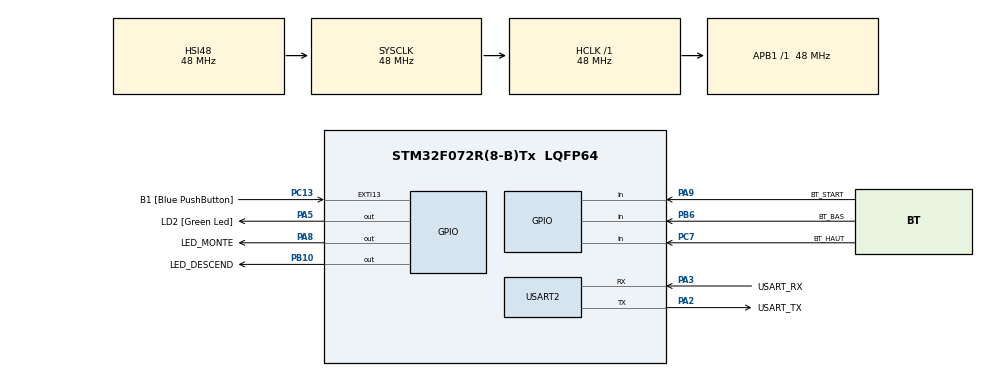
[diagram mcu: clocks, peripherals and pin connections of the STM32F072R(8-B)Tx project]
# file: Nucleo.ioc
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Mcu.Family=STM32F0
Mcu.Name=STM32F072R(8-B)Tx
Mcu.Package=LQFP64
PA13.GPIO_Label=TMS
PA13.Mode=Serial_Wire
PA13.Signal=SYS_SWDIO
PA14.GPIO_Label=TCK
PA14.Mode=Serial_Wire
PA14.Signal=SYS_SWCLK
PA2.GPIO_Label=USART_TX
PA2.GPIO_Mode=GPIO_MODE_AF_PP
PA2.GPIO_PuPd=GPIO_NOPULL
PA2.GPIO_Speed=GPIO_SPEED_FREQ_LOW
PA2.Mode=Asynchronous
PA2.Signal=USART2_TX
PA3.GPIO_Label=USART_RX
PA3.GPIO_Mode=GPIO_MODE_AF_PP
PA3.GPIO_PuPd=GPIO_NOPULL
PA3.GPIO_Speed=GPIO_SPEED_FREQ_LOW
PA3.Mode=Asynchronous
PA3.Signal=USART2_RX
PA5.GPIO_Label=LD2 [Green Led]
PA5.GPIO_Mode=GPIO_MODE_OUTPUT_PP
PA5.GPIO_PuPd=GPIO_NOPULL
PA5.GPIO_Speed=GPIO_SPEED_FREQ_LOW
PA5.Signal=GPIO_Output
PA8.GPIO_Label=LED_MONTE
PA8.Signal=GPIO_Output
PA9.GPIO_Label=BT_START
PA9.GPIO_PuPd=GPIO_PULLUP
PA9.Signal=GPIO_Input
PB10.GPIO_Label=LED_DESCEND
PB10.Signal=GPIO_Output
PB6.GPIO_Label=BT_BAS
PB6.GPIO_PuPd=GPIO_PULLUP
PB6.Signal=GPIO_Input
PC13.GPIO_Label=B1 [Blue PushButton]
PC13.GPIO_ModeDefaultEXTI=GPIO_MODE_IT_FALLING
PC13.Signal=GPXTI13
PC14-OSC32_IN.Mode=LSE-External-Oscillator
PC14-OSC32_IN.Signal=RCC_OSC32_IN
PC15-OSC32_OUT.Mode=LSE-External-Oscillator
PC15-OSC32_OUT.Signal=RCC_OSC32_OUT
PC7.GPIO_Label=BT_HAUT
PC7.GPIO_PuPd=GPIO_PULLUP
PC7.Signal=GPIO_Input
PF0-OSC_IN.Mode=HSE-External-Clock-Source
PF0-OSC_IN.Signal=RCC_OSC_IN
PF1-OSC_OUT.Signal=RCC_OSC_OUT
ProjectManager.HeapSize=0x200
ProjectManager.StackSize=0x400
ProjectManager.TargetToolchain=Other Toolchains (GPDSC)
RCC.AHBFreq_Value=48000000
RCC.APB1Freq_Value=48000000
RCC.APB1TimFreq_Value=48000000
RCC.FLatency-AdvancedSettings=FLASH_LATENCY_1
RCC.HCLKFreq_Value=48000000
RCC.PLLDivider=RCC_PREDIV_DIV2
RCC.PLLMUL=RCC_PLL_MUL12
RCC.PREFETCH_ENABLE-AdvancedSettings=1
RCC.SYSCLKFreq_VALUE=48000000
RCC.SYSCLKSource=RCC_SYSCLKSOURCE_HSI48
USART2.VirtualMode=VM_ASYNC
USART2.VirtualMode-Asynchronous=VM_ASYNC
board=NUCLEO-F072RB

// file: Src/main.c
/* USER CODE BEGIN Header */
/**
  ******************************************************************************
  * @file           : main.c
  * @brief          : Main program body
  ******************************************************************************
  * @attention
  *
  * <h2><center>&copy; Copyright (c) 2020 STMicroelectronics.
  * All rights reserved.</center></h2>
  *
  * This software component is licensed by ST under BSD 3-Clause license,
  * the "License"; You may not use this file except in compliance with the
  * License. You may obtain a copy of the License at:
  *                        opensource.org/licenses/BSD-3-Clause
  *
  ******************************************************************************
  */
/* USER CODE END Header */

#include "main.h"

UART_HandleTypeDef huart2;

void SystemClock_Config(void);
static void MX_GPIO_Init(void);
static void MX_USART2_UART_Init(void);

/* USER CODE BEGIN 0 */
void arreter() {
  HAL_GPIO_WritePin(LED_DESCEND_GPIO_Port, LED_DESCEND_Pin, GPIO_PIN_RESET);
  HAL_GPIO_WritePin(LED_MONTE_GPIO_Port, LED_MONTE_Pin, GPIO_PIN_RESET);
}

void descendre() {
  HAL_GPIO_WritePin(LED_MONTE_GPIO_Port, LED_MONTE_Pin, GPIO_PIN_RESET);
  HAL_GPIO_WritePin(LED_DESCEND_GPIO_Port, LED_DESCEND_Pin, GPIO_PIN_SET);
}

void monter() {
  HAL_GPIO_WritePin(LED_DESCEND_GPIO_Port, LED_DESCEND_Pin, GPIO_PIN_RESET);
  HAL_GPIO_WritePin(LED_MONTE_GPIO_Port, LED_MONTE_Pin, GPIO_PIN_SET);
}

int status_start() {
  return !HAL_GPIO_ReadPin(BT_START_GPIO_Port,BT_START_Pin);
}

int status_bas() {
  return !HAL_GPIO_ReadPin(BT_BAS_GPIO_Port,BT_BAS_Pin);
}

int status_haut() {
  return !HAL_GPIO_ReadPin(BT_HAUT_GPIO_Port,BT_HAUT_Pin);
}

/* USER CODE END 0 */

int main(void)
{
  /* USER CODE BEGIN 1 */
  enum {arret, descente, montee};
  int etat = arret;

  /* USER CODE END 1 */

  /* MCU Configuration--------------------------------------------------------*/

  /* Reset of all peripherals, Initializes the Flash interface and the Systick. */
  HAL_Init();

  /* Configure the system clock */
  SystemClock_Config();

  /* Initialize all configured peripherals */
  MX_GPIO_Init();
  MX_USART2_UART_Init();

  /* Infinite loop */
  /* USER CODE BEGIN WHILE */
  while (1)
  {
    switch (etat) {
      case arret:
        arreter();
        if (status_start()) {
          etat = descente;
        }
        break;
      case descente:
        descendre();
        if (status_bas()) {
          etat = montee;
        }
        break;
      case montee:
        monter();
        if (status_haut()) {
          etat = arret;
        }
    }
    /* USER CODE END WHILE */

  }
}

void SystemClock_Config(void)
{
  RCC_OscInitTypeDef RCC_OscInitStruct = {0};
  RCC_ClkInitTypeDef RCC_ClkInitStruct = {0};
  RCC_PeriphCLKInitTypeDef PeriphClkInit = {0};

  /** Initializes the CPU, AHB and APB busses clocks
  */
  RCC_OscInitStruct.OscillatorType = RCC_OSCILLATORTYPE_HSI48;
  RCC_OscInitStruct.HSI48State = RCC_HSI48_ON;
  RCC_OscInitStruct.PLL.PLLState = RCC_PLL_NONE;
  if (HAL_RCC_OscConfig(&RCC_OscInitStruct) != HAL_OK)
  {
    Error_Handler();
  }
  /** Initializes the CPU, AHB and APB busses clocks
  */
  RCC_ClkInitStruct.ClockType = RCC_CLOCKTYPE_HCLK|RCC_CLOCKTYPE_SYSCLK
                              |RCC_CLOCKTYPE_PCLK1;
  RCC_ClkInitStruct.SYSCLKSource = RCC_SYSCLKSOURCE_HSI48;
  RCC_ClkInitStruct.AHBCLKDivider = RCC_SYSCLK_DIV1;
  RCC_ClkInitStruct.APB1CLKDivider = RCC_HCLK_DIV1;

  if (HAL_RCC_ClockConfig(&RCC_ClkInitStruct, FLASH_LATENCY_1) != HAL_OK)
  {
    Error_Handler();
  }
  PeriphClkInit.PeriphClockSelection = RCC_PERIPHCLK_USART2;
  PeriphClkInit.Usart2ClockSelection = RCC_USART2CLKSOURCE_PCLK1;
  if (HAL_RCCEx_PeriphCLKConfig(&PeriphClkInit) != HAL_OK)
  {
    Error_Handler();
  }
}

static void MX_USART2_UART_Init(void)
{

  huart2.Instance = USART2;
  huart2.Init.BaudRate = 38400;
  huart2.Init.WordLength = UART_WORDLENGTH_8B;
  huart2.Init.StopBits = UART_STOPBITS_1;
  huart2.Init.Parity = UART_PARITY_NONE;
  huart2.Init.Mode = UART_MODE_TX_RX;
  huart2.Init.HwFlowCtl = UART_HWCONTROL_NONE;
  huart2.Init.OverSampling = UART_OVERSAMPLING_16;
  huart2.Init.OneBitSampling = UART_ONE_BIT_SAMPLE_DISABLE;
  huart2.AdvancedInit.AdvFeatureInit = UART_ADVFEATURE_NO_INIT;
  if (HAL_UART_Init(&huart2) != HAL_OK)
  {
    Error_Handler();
  }

}

static void MX_GPIO_Init(void)
{
  GPIO_InitTypeDef GPIO_InitStruct = {0};

  /* GPIO Ports Clock Enable */
  __HAL_RCC_GPIOC_CLK_ENABLE();
  __HAL_RCC_GPIOF_CLK_ENABLE();
  __HAL_RCC_GPIOA_CLK_ENABLE();
  __HAL_RCC_GPIOB_CLK_ENABLE();

  /*Configure GPIO pin Output Level */
  HAL_GPIO_WritePin(GPIOA, LD2_Pin|LED_MONTE_Pin, GPIO_PIN_RESET);

  /*Configure GPIO pin Output Level */
  HAL_GPIO_WritePin(LED_DESCEND_GPIO_Port, LED_DESCEND_Pin, GPIO_PIN_RESET);

  /*Configure GPIO pin : B1_Pin */
  GPIO_InitStruct.Pin = B1_Pin;
  GPIO_InitStruct.Mode = GPIO_MODE_IT_FALLING;
  GPIO_InitStruct.Pull = GPIO_NOPULL;
  HAL_GPIO_Init(B1_GPIO_Port, &GPIO_InitStruct);

  /*Configure GPIO pins : LD2_Pin LED_MONTE_Pin */
  GPIO_InitStruct.Pin = LD2_Pin|LED_MONTE_Pin;
  GPIO_InitStruct.Mode = GPIO_MODE_OUTPUT_PP;
  GPIO_InitStruct.Pull = GPIO_NOPULL;
  GPIO_InitStruct.Speed = GPIO_SPEED_FREQ_LOW;
  HAL_GPIO_Init(GPIOA, &GPIO_InitStruct);

  /*Configure GPIO pin : LED_DESCEND_Pin */
  GPIO_InitStruct.Pin = LED_DESCEND_Pin;
  GPIO_InitStruct.Mode = GPIO_MODE_OUTPUT_PP;
  GPIO_InitStruct.Pull = GPIO_NOPULL;
  GPIO_InitStruct.Speed = GPIO_SPEED_FREQ_LOW;
  HAL_GPIO_Init(LED_DESCEND_GPIO_Port, &GPIO_InitStruct);

  /*Configure GPIO pin : BT_HAUT_Pin */
  GPIO_InitStruct.Pin = BT_HAUT_Pin;
  GPIO_InitStruct.Mode = GPIO_MODE_INPUT;
  GPIO_InitStruct.Pull = GPIO_PULLUP;
  HAL_GPIO_Init(BT_HAUT_GPIO_Port, &GPIO_InitStruct);

  /*Configure GPIO pin : BT_START_Pin */
  GPIO_InitStruct.Pin = BT_START_Pin;
  GPIO_InitStruct.Mode = GPIO_MODE_INPUT;
  GPIO_InitStruct.Pull = GPIO_PULLUP;
  HAL_GPIO_Init(BT_START_GPIO_Port, &GPIO_InitStruct);

  /*Configure GPIO pin : BT_BAS_Pin */
  GPIO_InitStruct.Pin = BT_BAS_Pin;
  GPIO_InitStruct.Mode = GPIO_MODE_INPUT;
  GPIO_InitStruct.Pull = GPIO_PULLUP;
  HAL_GPIO_Init(BT_BAS_GPIO_Port, &GPIO_InitStruct);

}

void Error_Handler(void)
{
}

/************************ (C) COPYRIGHT STMicroelectronics *****END OF FILE****/
